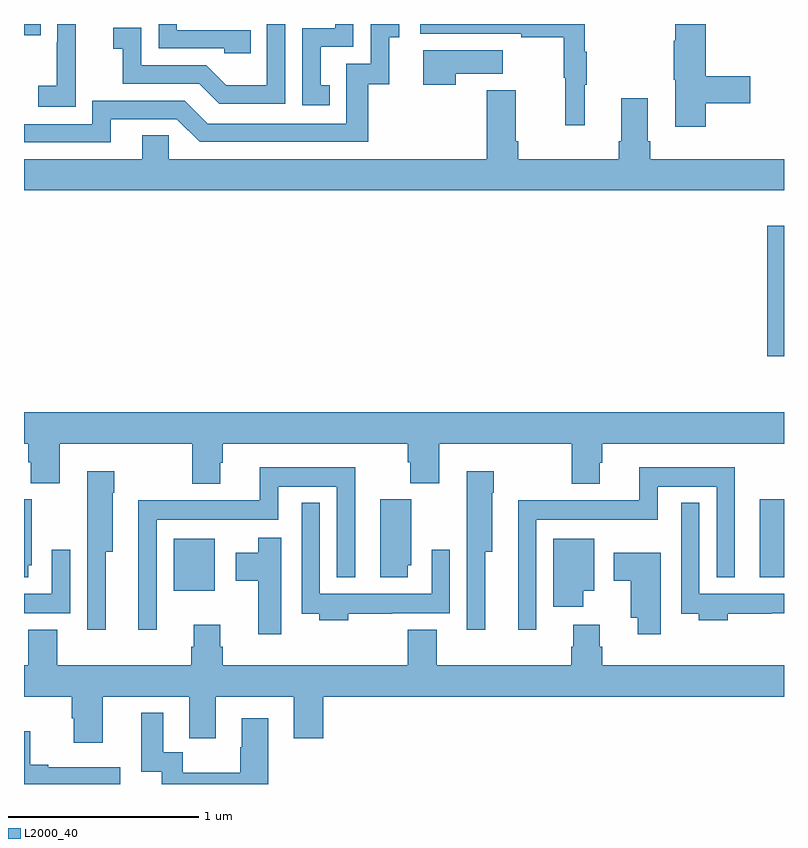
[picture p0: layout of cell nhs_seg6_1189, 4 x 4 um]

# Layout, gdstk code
import gdstk
lib = gdstk.Library(unit=1e-6, precision=1e-09)
def R(c, l, rs):  # rectangles x0, y0, x1, y1
    for r in rs: c.add(gdstk.rectangle(r[:2], r[2:], *l))
def P(c, l, *ps):  # polygons
    for p in ps: c.add(gdstk.Polygon(p, *l))
L2000_40 = (2000, 40)

nhs_seg6_1189 = lib.new_cell('nhs_seg6_1189')
R(nhs_seg6_1189, L2000_40, [(183.788,990.518,184.003,990.79), (186.872,990.588,187,990.999), (186.913,991.752,187,992.437), (183,993.442,183.089,993.5)])
P(nhs_seg6_1189, L2000_40, [(184.61,993.177),(184.561,993.177),(184.561,993.381),(184.734,993.381),(184.734,993.5),(184.638,993.5),(184.638,993.477),(184.464,993.477),(184.464,993.072),(184.61,993.072)],
  [(184.374,993.5),(184.278,993.5),(184.278,993.178),(184.064,993.178),(183.96,993.282),(183.618,993.282),(183.618,993.481),(183.471,993.481),(183.471,993.371),(183.52,993.371),(183.52,993.186),(183.923,993.186),(184.028,993.081),(184.374,993.081)],
  [(184.193,993.468),(183.804,993.468),(183.804,993.5),(183.708,993.5),(183.708,993.372),(184.053,993.372),(184.053,993.345),(184.193,993.345)],
  [(183.457,993),(183.804,993),(183.924,992.88),(184.811,992.88),(184.811,993.183),(184.922,993.183),(184.922,993.429),(184.975,993.429),(184.975,993.5),(184.824,993.5),(184.824,993.291),(184.695,993.291),(184.695,992.976),(183.966,992.976),(183.846,993.096),(183.36,993.096),(183.36,992.973),(183,992.973),(183,992.877),(183.457,992.877)],
  [(183.273,993.271),(183.272,993.271),(183.272,993.5),(183.174,993.5),(183.174,993.404),(183.173,993.404),(183.173,993.175),(183.075,993.175),(183.075,993.065),(183.273,993.065)],
  [(186.587,993.082),(186.823,993.082),(186.823,993.224),(186.587,993.224),(186.587,993.5),(186.428,993.5),(186.428,993.413),(186.421,993.413),(186.421,993.207),(186.428,993.207),(186.428,992.958),(186.587,992.958)],
  [(185.951,993.179),(185.962,993.179),(185.962,993.353),(185.951,993.353),(185.951,993.5),(185.085,993.5),(185.085,993.45),(185.617,993.45),(185.617,993.43),(185.841,993.43),(185.841,993.216),(185.848,993.216),(185.848,992.967),(185.951,992.967)],
  [(185.273,993.239),(185.521,993.239),(185.521,993.361),(185.102,993.361),(185.102,993.18),(185.273,993.18)],
  [(187,992.788),(186.296,992.788),(186.296,992.884),(186.283,992.884),(186.283,993.109),(186.143,993.109),(186.143,992.884),(186.131,992.884),(186.131,992.788),(185.6,992.788),(185.6,992.884),(185.587,992.884),(185.587,993.151),(185.435,993.151),(185.435,992.788),(183.762,992.788),(183.762,992.915),(183.623,992.915),(183.623,992.788),(183,992.788),(183,992.624),(187,992.624)],
  [(184.033,991.191),(184.046,991.191),(184.046,991.292),(185.021,991.292),(185.021,991.193),(185.033,991.193),(185.033,991.084),(185.186,991.084),(185.186,991.292),(185.884,991.292),(185.884,991.079),(186.031,991.079),(186.031,991.191),(186.044,991.191),(186.044,991.292),(187,991.292),(187,991.456),(183,991.456),(183,991.292),(183.023,991.292),(183.023,991.193),(183.035,991.193),(183.035,991.084),(183.188,991.084),(183.188,991.292),(183.886,991.292),(183.886,991.079),(184.033,991.079)],
  [(183.699,990.89),(184.338,990.89),(184.338,991.064),(184.647,991.064),(184.647,990.587),(184.744,990.587),(184.744,991.168),(184.241,991.168),(184.241,990.994),(183.602,990.994),(183.602,990.312),(183.699,990.312)],
  [(185.697,990.89),(186.336,990.89),(186.336,991.064),(186.645,991.064),(186.645,990.587),(186.742,990.587),(186.742,991.168),(186.239,991.168),(186.239,990.994),(185.6,990.994),(185.6,990.312),(185.697,990.312)],
  [(183.43,990.722),(183.466,990.722),(183.466,991.034),(183.474,991.034),(183.474,991.147),(183.332,991.147),(183.332,990.826),(183.333,990.826),(183.333,990.312),(183.43,990.312)],
  [(185.428,990.722),(185.464,990.722),(185.464,991.034),(185.472,991.034),(185.472,991.147),(185.33,991.147),(185.33,990.826),(185.331,990.826),(185.331,990.312),(185.428,990.312)],
  [(183.022,990.651),(183.04,990.651),(183.04,990.999),(183,990.999),(183,990.588),(183.022,990.588)],
  [(185.02,990.651),(185.038,990.651),(185.038,990.999),(184.874,990.999),(184.874,990.588),(185.02,990.588)],
  [(186.704,990.396),(186.935,990.396),(186.935,990.398),(187,990.398),(187,990.502),(186.555,990.502),(186.555,990.979),(186.459,990.979),(186.459,990.396),(186.551,990.396),(186.551,990.362),(186.704,990.362)],
  [(184.706,990.396),(184.937,990.396),(184.937,990.398),(185.241,990.398),(185.241,990.733),(185.145,990.733),(185.145,990.502),(184.557,990.502),(184.557,990.979),(184.461,990.979),(184.461,990.396),(184.553,990.396),(184.553,990.362),(184.706,990.362)],
  [(184.354,990.796),(184.232,990.796),(184.232,990.718),(184.115,990.718),(184.115,990.571),(184.232,990.571),(184.232,990.288),(184.354,990.288)],
  [(185.944,990.518),(186.001,990.518),(186.001,990.79),(185.786,990.79),(185.786,990.432),(185.944,990.432)],
  [(183.243,990.733),(183.147,990.733),(183.147,990.502),(183,990.502),(183,990.398),(183.243,990.398)],
  [(186.352,990.718),(186.105,990.718),(186.105,990.571),(186.194,990.571),(186.194,990.374),(186.23,990.374),(186.23,990.288),(186.352,990.288)],
  [(183.175,990.313),(183.023,990.313),(183.023,990.124),(183,990.124),(183,989.96),(183.251,989.96),(183.251,989.847),(183.263,989.847),(183.263,989.718),(183.415,989.718),(183.415,989.96),(183.869,989.96),(183.869,989.742),(184.009,989.742),(184.009,989.96),(184.421,989.96),(184.421,989.742),(184.574,989.742),(184.574,989.96),(187,989.96),(187,990.124),(186.044,990.124),(186.044,990.222),(186.031,990.222),(186.031,990.337),(185.891,990.337),(185.891,990.222),(185.879,990.222),(185.879,990.124),(185.173,990.124),(185.173,990.313),(185.021,990.313),(185.021,990.124),(184.046,990.124),(184.046,990.222),(184.033,990.222),(184.033,990.337),(183.893,990.337),(183.893,990.222),(183.881,990.222),(183.881,990.124),(183.175,990.124)],
  [(184.285,989.845),(184.145,989.845),(184.145,989.694),(184.138,989.694),(184.138,989.56),(183.835,989.56),(183.835,989.666),(183.733,989.666),(183.733,989.875),(183.617,989.875),(183.617,989.565),(183.726,989.565),(183.726,989.5),(184.285,989.5)],
  [(183.507,989.589),(183.127,989.589),(183.127,989.602),(183.033,989.602),(183.033,989.777),(183,989.777),(183,989.5),(183.507,989.5)])

lib.write_gds('nhs_seg6_1189.gds')
